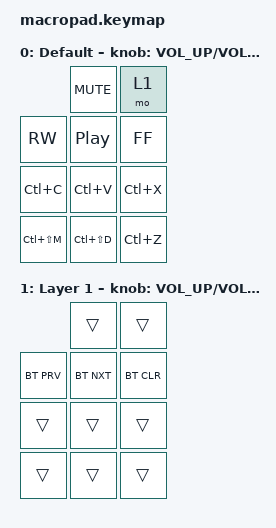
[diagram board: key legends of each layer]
/*
 * Copyright (c) 2024 The ZMK Contributors
 * SPDX-License-Identifier: MIT
 */

#include <behaviors.dtsi>
#include <dt-bindings/zmk/keys.h>
#include <dt-bindings/zmk/bt.h>

/ {
    keymap {
        compatible = "zmk,keymap";

        default_layer {
            display-name = "Default";
            
            // Physical Layout:
            // [    ] [Mute ] [Layer]
            // [Rew ] [Play ] [Skip ]
            // [Copy ] [Paste] [Cut  ]
            // [C+S+M] [C+S+D] [C+Z  ]
            
            bindings = <
                        &kp C_MUTE          &mo 1
                &kp C_RW    &kp C_PP        &kp C_FF
                &kp LC(C)   &kp LC(V)       &kp LC(X)
                &kp LC(LS(M)) &kp LC(LS(D)) &kp LC(Z)
            >;
            
            // Encoder bindings:
            // Left encoder: Volume Up/Down
            // Right encoder: Page Up/Down
            sensor-bindings = <&inc_dec_kp C_VOL_UP C_VOL_DN &inc_dec_kp PG_UP PG_DN>;
        };

        layer_1 {
            display-name = "Layer 1";
            
            bindings = <
                        &trans          &trans
                &bt BT_PRV  &bt BT_NXT      &bt BT_CLR
                &trans      &trans          &trans
                &trans      &trans          &trans
            >;
            
            sensor-bindings = <&inc_dec_kp C_VOL_UP C_VOL_DN &inc_dec_kp PG_UP PG_DN>;
        };
    };
};
